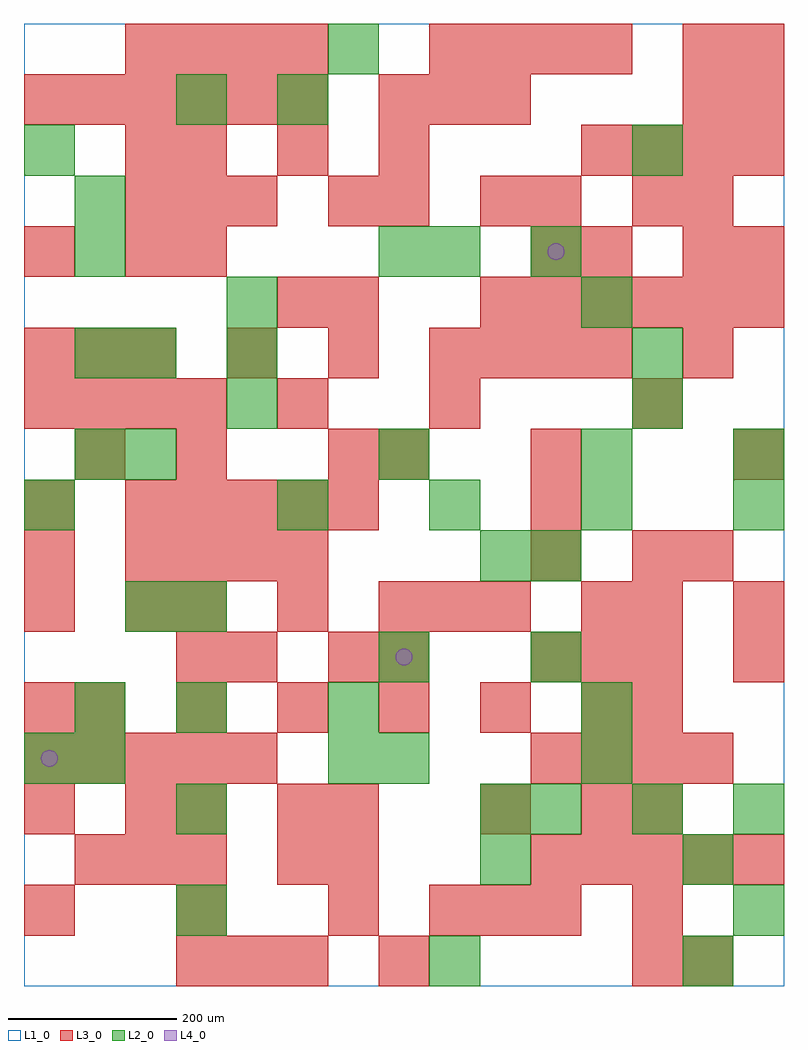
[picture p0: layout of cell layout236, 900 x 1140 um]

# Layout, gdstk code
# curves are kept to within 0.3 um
import gdstk
lib = gdstk.Library(unit=1e-6, precision=1e-09)
def R(c, l, rs):  # rectangles x0, y0, x1, y1
    for r in rs: c.add(gdstk.rectangle(r[:2], r[2:], *l))
def A(c, l, x, y, w, h, nx, ny, dx, dy):  # array of equal rectangles
    R(c, l, [(x+i*dx, y+j*dy, x+i*dx+w, y+j*dy+h) for i in range(nx) for j in range(ny)])
def P(c, l, *ps):  # polygons
    for p in ps: c.add(gdstk.Polygon(p, *l))
L1_0 = (1, 0)
L2_0 = (2, 0)
L3_0 = (3, 0)
L4_0 = (4, 0)

layout236 = lib.new_cell('layout236')
R(layout236, L1_0, [(0,0,900,1140)])
A(layout236, L2_0, 180, 60, 60, 60, 1, 4, 0, 120)
A(layout236, L2_0, 600, 180, 60, 60, 3, 1, 120, 0)
A(layout236, L2_0, 420, 360, 60, 60, 1, 3, 0, 240)
A(layout236, L2_0, 300, 540, 60, 60, 4, 1, 180, 0)
A(layout236, L2_0, 60, 600, 60, 60, 1, 3, 0, 120)
A(layout236, L2_0, 240, 660, 60, 60, 1, 3, 0, 60)
R(layout236, L2_0, [(480,0,540,60), (780,0,840,60), (840,60,900,120), (540,120,600,180), (780,120,840,180), (540,180,600,240), (0,240,60,300), (60,240,120,300), (360,240,420,300), (420,240,480,300), (660,240,720,300), (60,300,120,360), (360,300,420,360), (660,300,720,360), (600,360,660,420), (120,420,180,480), (540,480,600,540), (600,480,660,540), (0,540,60,600), (120,600,180,660), (660,600,720,660), (840,600,900,660), (720,660,780,720), (120,720,180,780), (720,720,780,780), (660,780,720,840), (480,840,540,900), (600,840,660,900), (60,900,120,960), (0,960,60,1020), (720,960,780,1020), (180,1020,240,1080), (300,1020,360,1080), (360,1080,420,1140)])
A(layout236, L3_0, 180, 0, 60, 60, 3, 1, 60, 0)
A(layout236, L3_0, 0, 60, 60, 60, 3, 1, 180, 0)
A(layout236, L3_0, 480, 60, 60, 60, 3, 1, 60, 0)
A(layout236, L3_0, 720, 60, 60, 60, 1, 4, 0, 120)
A(layout236, L3_0, 60, 120, 60, 60, 3, 1, 60, 0)
A(layout236, L3_0, 600, 120, 60, 60, 5, 1, 60, 0)
A(layout236, L3_0, 0, 180, 60, 60, 1, 3, 0, 120)
A(layout236, L3_0, 0, 240, 60, 60, 5, 1, 60, 0)
A(layout236, L3_0, 600, 240, 60, 60, 4, 1, 60, 0)
A(layout236, L3_0, 60, 300, 60, 60, 6, 1, 120, 0)
A(layout236, L3_0, 180, 360, 60, 60, 1, 3, 0, 240)
A(layout236, L3_0, 600, 360, 60, 60, 3, 1, 60, 0)
A(layout236, L3_0, 180, 420, 60, 60, 3, 2, 120, 540)
A(layout236, L3_0, 120, 480, 60, 60, 4, 2, 60, 600)
A(layout236, L3_0, 600, 480, 60, 60, 1, 3, 0, 60)
A(layout236, L3_0, 120, 540, 60, 60, 5, 1, 60, 0)
A(layout236, L3_0, 0, 660, 60, 60, 4, 1, 60, 0)
A(layout236, L3_0, 0, 720, 60, 60, 3, 1, 60, 0)
A(layout236, L3_0, 240, 720, 60, 60, 3, 1, 120, 0)
A(layout236, L3_0, 540, 720, 60, 60, 3, 1, 60, 0)
A(layout236, L3_0, 540, 780, 60, 60, 6, 1, 60, 0)
A(layout236, L3_0, 120, 900, 60, 60, 3, 1, 60, 0)
A(layout236, L3_0, 660, 960, 60, 60, 4, 1, 60, 0)
A(layout236, L3_0, 0, 1020, 60, 60, 6, 1, 60, 0)
A(layout236, L3_0, 420, 1020, 60, 60, 3, 1, 60, 0)
A(layout236, L3_0, 480, 1080, 60, 60, 4, 1, 60, 0)
R(layout236, L3_0, [(420,0,480,60), (720,0,780,60), (780,0,840,60), (300,120,360,180), (360,120,420,180), (120,180,180,240), (180,180,240,240), (300,180,360,240), (360,180,420,240), (540,180,600,240), (660,180,720,240), (240,360,300,420), (360,360,420,420), (420,360,480,420), (840,360,900,420), (120,420,180,480), (480,420,540,480), (540,420,600,480), (660,420,720,480), (840,420,900,480), (0,480,60,540), (720,480,780,540), (780,480,840,540), (0,540,60,600), (60,600,120,660), (360,600,420,660), (420,600,480,660), (840,600,900,660), (300,660,360,720), (480,660,540,720), (720,660,780,720), (780,720,840,780), (300,780,360,840), (360,780,420,840), (0,840,60,900), (120,840,180,900), (600,840,660,900), (660,840,720,900), (780,840,840,900), (840,840,900,900), (360,900,420,960), (420,900,480,960), (540,900,600,960), (600,900,660,960), (720,900,780,960), (780,900,840,960), (120,960,180,1020), (780,1020,840,1080), (840,1020,900,1080), (780,1080,840,1140), (840,1080,900,1140)])
P(layout236, L4_0, [(40,270),(39.239,273.827),(37.071,277.071),(33.827,279.239),(30,280),(26.173,279.239),(22.929,277.071),(20.761,273.827),(20,270),(20.761,266.173),(22.929,262.929),(26.173,260.761),(30,260),(33.827,260.761),(37.071,262.929),(39.239,266.173)],
  [(460,390),(459.239,393.827),(457.071,397.071),(453.827,399.239),(450,400),(446.173,399.239),(442.929,397.071),(440.761,393.827),(440,390),(440.761,386.173),(442.929,382.929),(446.173,380.761),(450,380),(453.827,380.761),(457.071,382.929),(459.239,386.173)],
  [(640,870),(639.239,873.827),(637.071,877.071),(633.827,879.239),(630,880),(626.173,879.239),(622.929,877.071),(620.761,873.827),(620,870),(620.761,866.173),(622.929,862.929),(626.173,860.761),(630,860),(633.827,860.761),(637.071,862.929),(639.239,866.173)])

lib.write_gds('layout236.gds')
